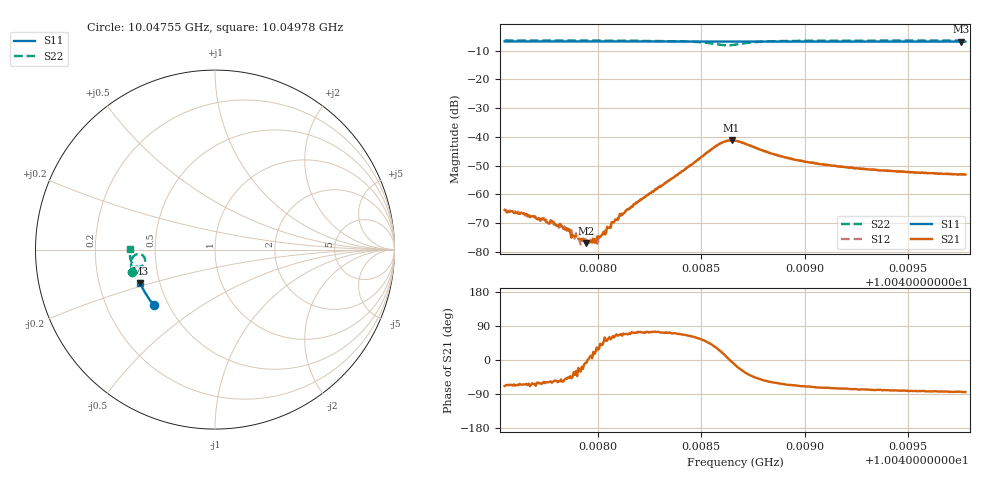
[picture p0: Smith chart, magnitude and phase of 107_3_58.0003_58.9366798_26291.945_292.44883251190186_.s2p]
#  HZ  S  RI  R  50.00
! Rohde & Schwarz Vector Network Analyzer
! Rohde-Schwarz,ZNB20-2Port,1311601062101988,3.16
! Created: UTC 3/21/2024, 12:55:04 AM
! freq[Hz]  re:S11  im:S11  re:S21  im:S21  re:S12  im:S12  re:S22  im:S22
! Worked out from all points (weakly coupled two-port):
!   401 points, 10.04755 GHz to 10.04978 GHz, reference 50 ohm
!   highest |S21| = -41.19 dB at 10.04865 GHz (marker M1); lowest = -77.0 dB at 10.04794 GHz (marker M2)
!   lowest |S11| = -6.8 dB at 10.04976 GHz (marker M3), VSWR 2.68, Z = 19.4 - j9.12 ohm
!   |S11| at or under -10 dB: nowhere
!   |S22| runs from -8.1 to -6.4 dB; largest |S21 - S12| = 0.00061
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1.0047548e10  -0.34 -0.31  0.000194 -0.000499  0.000251 -0.000474  -0.461 -0.1255
1.0047643e10  -0.3442 -0.305  0.000199 -0.000419  0.000229 -0.000411  -0.4624 -0.1187
1.0047749e10  -0.3486 -0.2996  0.000173 -0.000284  0.000195 -0.000298  -0.4639 -0.1109
1.0047815e10  -0.3512 -0.2962  0.000169 -0.000255  0.000173 -0.00021  -0.4647 -0.1057
1.0047855e10  -0.353 -0.2939  0.000163 -0.000169  0.000156 -0.000148  -0.4652 -0.1028
1.0047877e10  -0.3539 -0.2928  0.00014 -0.000137  0.000152 -0.000116  -0.4654 -0.1009
1.0047899e10  -0.3548 -0.2916  0.000142 -0.00013  0.000185 -6.84e-05  -0.4656 -0.0993
1.0047921e10  -0.3556 -0.2906  0.000149 -4.84e-05  0.000158 -3.48e-05  -0.4659 -0.0974
1.0047944e10  -0.3567 -0.2893  0.00014 -1.93e-05  0.000155 -2.58e-05  -0.4662 -0.0956
1.0047983e10  -0.3581 -0.2873  0.000139 3.95e-05  0.000166 8.08e-05  -0.4663 -0.0923
1.0048005e10  -0.359 -0.2859  0.00016 9.05e-05  0.000152 0.000102  -0.4666 -0.0903
1.0048039e10  -0.3604 -0.2842  0.000133 0.000162  0.000148 0.000196  -0.4667 -0.0874
1.0048106e10  -0.363 -0.2805  0.000176 0.00042  0.000142 0.000405  -0.4671 -0.0813
1.0048295e10  -0.3703 -0.2704  0.000359 0.0013  0.000311 0.00131  -0.4654 -0.0606
1.0048574e10  -0.3799 -0.2545  0.00597 0.00369  0.00577 0.00406  -0.4097 -0.0278
1.0048647e10  -0.3822 -0.2508  0.0087 -0.000677  0.00876 -0.000148  -0.3904 -0.0694
1.0048663e10  -0.3826 -0.2501  0.00841 -0.00193  0.00854 -0.00141  -0.3952 -0.0797
1.0048881e10  -0.3905 -0.2381  0.00216 -0.00411  0.00243 -0.00399  -0.4601 -0.078
1.0049037e10  -0.3958 -0.229  0.00115 -0.00336  0.00137 -0.00333  -0.4694 -0.0585
1.0049411e10  -0.407 -0.2069  0.000437 -0.00251  0.000574 -0.0025  -0.4753 -0.0249
1.0049757e10  -0.4163 -0.1861  0.000243 -0.00221  0.000353 -0.00223  -0.4762 0.00103
1.0049779e10  -0.417 -0.1848  0.000207 -0.0022  0.00031 -0.00216  -0.4761 0.00266
